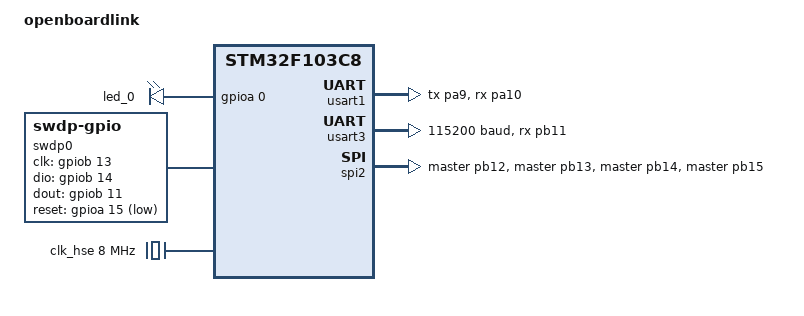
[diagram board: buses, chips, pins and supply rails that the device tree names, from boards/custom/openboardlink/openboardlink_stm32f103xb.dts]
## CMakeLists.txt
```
# SPDX-License-Identifier: Apache-2.0

cmake_minimum_required(VERSION 3.28.0)
find_package(Zephyr REQUIRED HINTS $ENV{ZEPHYR_BASE})

zephyr_linker_sources(SECTIONS at_cmd_iterable.ld)
#zephyr_iterable_section(NAME at_cmd GROUP RODATA_REGION SUBALIGN 4)

list(APPEND BOARD_ROOT ${CMAKE_CURRENT_SOURCE_DIR})

project(OpenBoardLink)

target_include_directories(app
PRIVATE
  ${CMAKE_CURRENT_SOURCE_DIR}/src
  ${CMAKE_CURRENT_SOURCE_DIR}/src/drivers
  ${CMAKE_CURRENT_SOURCE_DIR}/src/lib
)

target_sources(app 
PRIVATE 
  src/main.c 
  src/tasks.c
  src/drivers/swd.h
  src/drivers/swd.c
  src/drivers/uart.h
  src/drivers/uart.c
  src/lib/at_commands.h
  src/lib/at_commands.c
)
```

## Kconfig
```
config OBL_UART_MAX_TX_LEN
  int "Maximum size of our TX packets"
  default 32

config OBL_UART_RX_CHUNK_LEN
  int "Max data readable in the RX DMA channel"
  default 32

config OBL_UART_BUFFER_COUNT
  int "Number of UART buffers to be created"
  default 4

config OBL_UART_TX_REQ_COUNT 
  int
  default 8
config OBL_UART_TX_STACK_SIZE 
  int
  default 1024
config OBL_UART_TX_PRIO
  int
  default 5

config OBL_AT_MAX_LINE
  int
  default 64

config OBL_AT_MAX_RESP
  int
  default 256

config OBL_AT_STACK_SIZE
  int
  default 2048

source "Kconfig.zephyr"
```

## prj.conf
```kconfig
CONFIG_GPIO=y
CONFIG_SERIAL=y
CONFIG_NET_BUF=y

#==================
CONFIG_CONSOLE=y
CONFIG_UART_CONSOLE=y
#CONFIG_UART_INTERRUPT_DRIVEN=y
CONFIG_PRINTK=y
CONFIG_STDOUT_CONSOLE=y
CONFIG_UART_ASYNC_API=y
# CONFIG_LOG=y
# CONFIG_LOG_BACKEND_UART=y
# CONFIG_LOG_DEFAULT_LEVEL=3

#==================
CONFIG_ASSERT=y
#CONFIG_ASSERT_LEVEL=2
```

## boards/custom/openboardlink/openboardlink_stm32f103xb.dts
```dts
/dts-v1/;
#include <st/f1/stm32f103Xb.dtsi>
#include <zephyr/dt-bindings/input/input-event-codes.h>
#include <st/f1/stm32f103c(8-b)tx-pinctrl.dtsi>

/ {
  model = "openboardlink";
  compatible = "st,stm32f103c8";

  aliases {
    status-led = &led_0;
  };

  chosen {
    zephyr,sram = &sram0;
    zephyr,console = &usart1;
    zephyr,shell-uart = &usart1;
    zephyr,flash = &flash0;
  };

  led {
    compatible = "gpio-leds";

    led_0: pa0 {
      gpios = <&gpioa 0 GPIO_ACTIVE_HIGH>;
      status = "okay";
    };
  };

  swdp0: swdp {
    compatible = "zephyr,swdp-gpio";
    clk-gpios = <&gpiob 13 GPIO_ACTIVE_HIGH>;
    dio-gpios = <&gpiob 14 GPIO_ACTIVE_HIGH>;
    dout-gpios = <&gpiob 11 (GPIO_ACTIVE_HIGH | GPIO_PULL_UP)>;
    reset-gpios = <&gpioa 15 (GPIO_ACTIVE_LOW | GPIO_OPEN_DRAIN)>;

    port-write-cycles = <2>;
  };
};

&clk_hse {
  status = "okay";
  clock-frequency = <DT_FREQ_M(8)>;
};

&pll {
  mul = <9>;
  clocks = <&clk_hse>;
  status = "okay";
};

&rcc {
  clocks = <&pll>;
  clock-frequency = <DT_FREQ_M(72)>;
  ahb-prescaler = <1>;
  apb1-prescaler = <2>;
  apb2-prescaler = <1>;
};

&gpioa {
  status = "okay";
};

&gpiob {
  status = "okay";
};

&usart1 {
  dmas = <&dma1 4 STM32_DMA_PERIPH_TX>,  /* DMA1 Channel 4 is USART1_TX */
         <&dma1 5 STM32_DMA_PERIPH_RX>;  /* DMA1 Channel 5 is USART1_RX */
  dma-names = "tx", "rx";
  pinctrl-0 = <&usart1_tx_pa9 &usart1_rx_pa10>;
  pinctrl-names = "default";
  status = "okay";
  fifo-enable;
};

/* SWO capture on USART3 RX (PB11, the default F1 mapping) */
&usart3 {
  pinctrl-0 = <&usart3_rx_pb11>;
  pinctrl-names = "default";
  current-speed = <115200>;   /* set to match the target's SWO rate */
  status = "okay";
};

&dma1 {
  status = "okay";
};

&spi2 {
  status = "okay";
  pinctrl-0 = <&spi2_nss_master_pb12 &spi2_sck_master_pb13
               &spi2_miso_master_pb14 &spi2_mosi_master_pb15>;
  pinctrl-names = "default";
};
```

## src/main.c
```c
#include <stdio.h>
#include <zephyr/kernel.h>

#include "drivers/uart.h"
#include "lib/at_commands.h"

/* 10000 msec = 10 sec */
#define SLEEP_TIME_MS 1000

int main(void) {
  obl_at_init();

  while (1) {
    k_msleep(SLEEP_TIME_MS);
  }
  return 0;
}
```

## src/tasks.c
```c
#include <stdio.h>
#include <zephyr/drivers/gpio.h>
#include <zephyr/drivers/uart.h>
#include <zephyr/kernel.h>

/* 10000 msec = 10 sec */
#define SLEEP_TIME_MS 1000

#define LED0_NODE DT_ALIAS(status_led)

/*
 * A build error on this line means your board is unsupported.
 * See the sample documentation for information on how to fix this.
 */
static const struct gpio_dt_spec led = GPIO_DT_SPEC_GET(LED0_NODE, gpios);

#define LED_TASK_STACK_SIZE 256
#define LED_TASK_PRIORITY 7

static void led_task_thread_entry(void *arg1, void *arg2, void *arg3);

/* Create the thread at compile time */
K_THREAD_DEFINE(led_task_thread_id, LED_TASK_STACK_SIZE, led_task_thread_entry,
                NULL, NULL, NULL, LED_TASK_PRIORITY, 0, 100);

static void led_task_thread_entry(void *arg1, void *arg2, void *arg3) {
  int ret;
  bool led_state = true;

  if (!gpio_is_ready_dt(&led)) {
    //printk("GPIO device not ready\n");
    k_panic();
  }

  ret = gpio_pin_configure_dt(&led, GPIO_OUTPUT_ACTIVE);
  if (ret < 0) {
    //printk("GPIO device not accessible\n");
    k_panic();
  }

  while (1) {
    ret = gpio_pin_toggle_dt(&led);
    if (ret < 0) {
      printk("GPIO device not accessible\n");
      k_panic();
    }

    led_state = !led_state;
    // printf("LED state: %s\n", led_state ? "ON" : "OFF");
    k_msleep(SLEEP_TIME_MS);
  }
}
```
